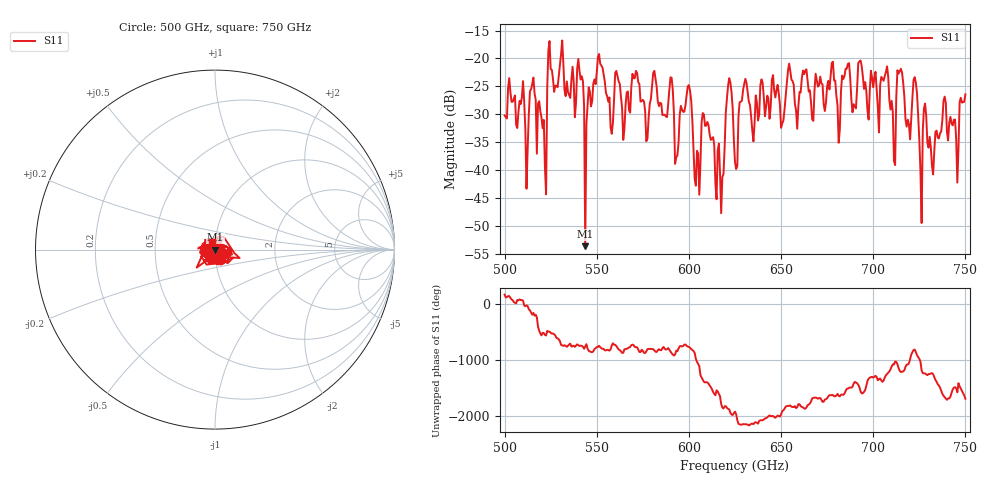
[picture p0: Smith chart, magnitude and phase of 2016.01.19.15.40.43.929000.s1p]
!Created with skrf (http://scikit-rf.org).
# GHz S RI R 50.0
!freq ReS11 ImS11
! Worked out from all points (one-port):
!   401 points, 500 GHz to 750 GHz, reference 50 ohm
!   lowest |S11| = -53.6 dB at 543.8 GHz (marker M1), VSWR 1.00, Z = 50.2 - j0.127 ohm
!   |S11| at or under -10 dB: start of sweep to end of sweep
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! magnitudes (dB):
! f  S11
! 500 GHz  -30.2
! 511.9 GHz  -43.3
! 515 GHz  -24.5
! 521.2 GHz  -31.0
! 524.4 GHz  -16.9
! 531.2 GHz  -16.8
! 541.2 GHz  -23.8
! 543.8 GHz  -53.6
! 551.2 GHz  -19.2
! 562.5 GHz  -24.5
! 590 GHz  -23.4
! 593.8 GHz  -37.3
! 600 GHz  -24.8
! 604.4 GHz  -36.5
! 608.8 GHz  -32.1
! 618.1 GHz  -41.2
! 621.9 GHz  -23.5
! 625 GHz  -38.6
! 630.6 GHz  -23.6
! 656.2 GHz  -24.0
! 687.5 GHz  -23.5
! 706.9 GHz  -22.5
! 710.6 GHz  -29.6
! 714.4 GHz  -22.3
! 718.8 GHz  -31.0
! 722.5 GHz  -23.3
! 731.9 GHz  -39.2
! 750 GHz  -26.4
